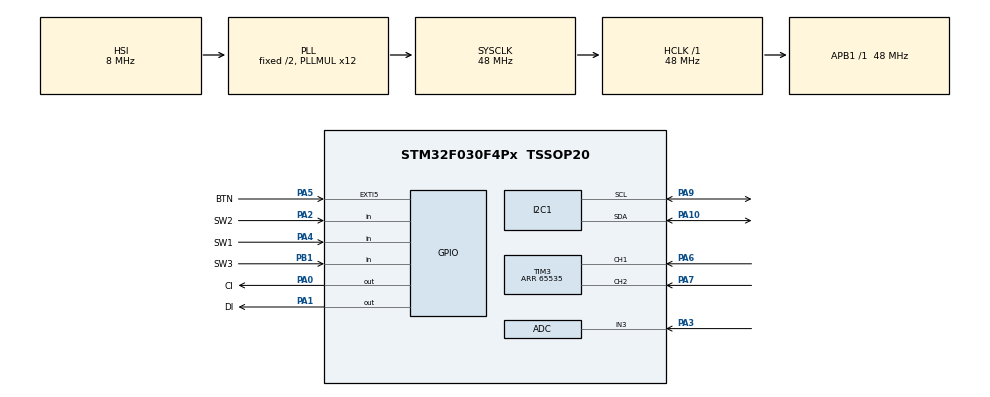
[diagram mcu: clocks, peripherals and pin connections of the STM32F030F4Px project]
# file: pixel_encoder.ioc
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ADC.ExternalTrigConv=ADC_EXTERNALTRIGCONV_T1_CC4
Dma.ADC.0.Direction=DMA_PERIPH_TO_MEMORY
Dma.ADC.0.Instance=DMA1_Channel1
Dma.ADC.0.MemDataAlignment=DMA_MDATAALIGN_HALFWORD
Dma.ADC.0.MemInc=DMA_MINC_ENABLE
Dma.ADC.0.Mode=DMA_CIRCULAR
Dma.ADC.0.PeriphDataAlignment=DMA_PDATAALIGN_HALFWORD
Dma.ADC.0.PeriphInc=DMA_PINC_DISABLE
Dma.ADC.0.Priority=DMA_PRIORITY_LOW
Dma.Request0=ADC
I2C1.OwnAddress=0x21
Mcu.Family=STM32F0
Mcu.Name=STM32F030F4Px
Mcu.Package=TSSOP20
NVIC.DMA1_Channel1_IRQn=true\:0\:0\:false\:false\:true\:false\:true\:true
NVIC.EXTI4_15_IRQn=true\:0\:0\:false\:false\:true\:true\:true\:true
NVIC.I2C1_IRQn=true\:0\:0\:false\:false\:true\:true\:true\:true
PA0.GPIO_Label=CI
PA0.Signal=GPIO_Output
PA1.GPIO_Label=DI
PA1.Signal=GPIO_Output
PA10.Mode=I2C
PA10.Signal=I2C1_SDA
PA13.Mode=Serial_Wire
PA13.Signal=SYS_SWDIO
PA14.Mode=Serial_Wire
PA14.Signal=SYS_SWCLK
PA2.GPIO_Label=SW2
PA2.GPIO_PuPd=GPIO_PULLDOWN
PA2.Signal=GPIO_Input
PA3.Mode=IN3
PA3.Signal=ADC_IN3
PA4.GPIO_Label=SW1
PA4.GPIO_PuPd=GPIO_PULLDOWN
PA4.Signal=GPIO_Input
PA5.GPIO_Label=BTN
PA5.GPIO_ModeDefaultEXTI=GPIO_MODE_IT_FALLING
PA5.GPIO_PuPd=GPIO_PULLUP
PA5.Signal=GPXTI5
PA6.GPIO_PuPd=GPIO_PULLUP
PA6.Signal=S_TIM3_CH1
PA7.GPIO_PuPd=GPIO_PULLUP
PA7.Signal=S_TIM3_CH2
PA9.Mode=I2C
PA9.Signal=I2C1_SCL
PB1.GPIO_Label=SW3
PB1.GPIO_PuPd=GPIO_PULLDOWN
PB1.Signal=GPIO_Input
ProjectManager.HeapSize=0x200
ProjectManager.StackSize=0x400
ProjectManager.TargetToolchain=STM32CubeIDE
RCC.AHBFreq_Value=48000000
RCC.APB1Freq_Value=48000000
RCC.APB1TimFreq_Value=48000000
RCC.HCLKFreq_Value=48000000
RCC.PLLMUL=RCC_PLL_MUL12
RCC.SYSCLKFreq_VALUE=48000000
RCC.SYSCLKSource=RCC_SYSCLKSOURCE_PLLCLK
SH.S_TIM3_CH1.0=TIM3_CH1,Encoder_Interface
SH.S_TIM3_CH2.0=TIM3_CH2,Encoder_Interface
TIM1.Channel-Output\ Compare4\ No\ Output=TIM_CHANNEL_4
TIM1.OCMode_4=TIM_OCMODE_TOGGLE
TIM1.Period=200-1
TIM1.Prescaler=4800-1
TIM3.AutoReloadPreload=TIM_AUTORELOAD_PRELOAD_ENABLE
TIM3.EncoderMode=TIM_ENCODERMODE_TI12
TIM3.IC1Filter=10
TIM3.IC2Filter=10
TIM3.Period=65535
VP_TIM1_VS_ClockSourceINT.Mode=Internal
VP_TIM1_VS_no_output4.Mode=Output Compare4 No Output
board=custom

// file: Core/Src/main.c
/* USER CODE BEGIN Header */
/**
  ******************************************************************************
  * @file           : main.c
  * @brief          : Main program body
  ******************************************************************************
  * @attention
  *
  * Copyright (c) 2023 STMicroelectronics.
  * All rights reserved.
  *
  * This software is licensed under terms that can be found in the LICENSE file
  * in the root directory of this software component.
  * If no LICENSE file comes with this software, it is provided AS-IS.
  *
  ******************************************************************************
  */
/* USER CODE END Header */
#include "main.h"

/* USER CODE BEGIN PD */
#define VERSION 2

#define LED_Q 16
#define LED_MAX LED_Q-1
#define LED_SHIFT 4

#define DEF_BRIGHTNESS 5
#define DEF_COLOR_R 255
#define DEF_COLOR_G 0
#define DEF_COLOR_B 0

#define SRC_ENC 0
#define SRC_POT 1

#define ENC_STOP_MAX 1
#define ENC_STOP_MIN 2
#define ENC_BTN_TO 200

#define MODE_FLOOD 0
#define MODE_LEVEL 1
#define MODE_POINT 2
#define MODE_TRAIL 3

#define CMD_GET_VERSION		0xB0 // версия прошивки
#define CMD_GET_SRC			0xB1 // получение источника сигнала 0 - энкодер, 1 - потенциометр
#define CMD_GET_STATE		0xB2 // получение состояния: байты 1 и 2 - позиция, байт 3 - состояние кнопки
#define CMD_SET_MODE		0xC0 // установка режима
#define CMD_SET_COLOR		0xC1 // установка цвета
#define CMD_SET_BRIGHTNESS	0xC2 // установка яркости
#define CMD_SET_POT_LPF		0xC3 // установка коэффициента ФНЧ для потенциометра 1..15
#define CMD_SET_ENC_LIMIT	0xC4 // установка предела энкодера
#define CMD_SET_ENC_MAX		0xC5 // установка диапазона энкодера
#define CMD_INIT			0xE0 // инициализация счётчика
#define CMD_RESET			0xE1 // сброс счётчика
#define CMD_TEST			0xE2 // запуск RGB теста

/* USER CODE END PD */

ADC_HandleTypeDef hadc;
DMA_HandleTypeDef hdma_adc;

I2C_HandleTypeDef hi2c1;

TIM_HandleTypeDef htim1;
TIM_HandleTypeDef htim3;

/* USER CODE BEGIN PV */
struct pixel_color{
	uint8_t red,green,blue;
};

struct pixel_color pixels[LED_Q];
struct pixel_color trail_pixels[3];

uint8_t current_brightness = DEF_BRIGHTNESS;
struct pixel_color current_color = {DEF_COLOR_R, DEF_COLOR_G, DEF_COLOR_B};
uint8_t current_mode = MODE_LEVEL;
uint8_t current_src = SRC_ENC;

// i2c
uint8_t i2c_recv_buf[8];
uint8_t i2c_send_buf[8];

// enc
uint16_t enc_pos = 0;
uint8_t enc_limit = 0;
uint8_t enc_max = 0;
uint8_t enc_stop = 0;
volatile uint32_t enc_btn_next = 0;

// pot
uint16_t pot_adc;
uint32_t pot_lpf = 0;
uint16_t pot_lpf_k = 1024;
volatile uint8_t flag_adc = 0;

//volatile uint8_t flag = 0;
volatile uint8_t transferDirection, transferRequested, i2c_data_ready;
/* USER CODE END PV */

void SystemClock_Config(void);
static void MX_GPIO_Init(void);
static void MX_DMA_Init(void);
static void MX_ADC_Init(void);
static void MX_TIM3_Init(void);
static void MX_I2C1_Init(void);
static void MX_TIM1_Init(void);
/* USER CODE BEGIN PFP */
uint8_t getHWIdx(uint8_t i);
void updateLeds();
void setPixelColor(uint8_t led, struct pixel_color color);
void setPixelColorRGB(uint8_t led, uint8_t r, uint8_t g, uint8_t b);
void testRGB();
void initPot( uint8_t init );
void handlePot();
void initEnc( uint8_t init );
void handleEnc();
void draw( uint8_t pos );
void packInt(uint8_t target[], volatile uint16_t source[], uint8_t ssize, uint8_t tstart);
void handleI2C();
/* USER CODE END PFP */

int main(void)
{

  /* MCU Configuration--------------------------------------------------------*/

  /* Reset of all peripherals, Initializes the Flash interface and the Systick. */
  HAL_Init();

  /* Configure the system clock */
  SystemClock_Config();

  /* Initialize all configured peripherals */
  MX_GPIO_Init();
  MX_DMA_Init();
  MX_ADC_Init();
  MX_TIM3_Init();
  MX_I2C1_Init();
  MX_TIM1_Init();
  /* USER CODE BEGIN 2 */

  HAL_I2C_EnableListen_IT(&hi2c1); // запуск прерываний I2C

  /* USER CODE END 2 */

  /* Infinite loop */
  /* USER CODE BEGIN WHILE */
  setPixelColor(LED_SHIFT, current_color);
  updateLeds();

  if( HAL_GPIO_ReadPin(SW1_GPIO_Port, SW1_Pin) ){
	  current_src = SRC_POT;
	  HAL_ADCEx_Calibration_Start(&hadc); // калибровка АЦП
	  HAL_ADC_Start_DMA(&hadc, (uint32_t*)&pot_adc, 1); // запуск DMA
	  HAL_TIM_OC_Start(&htim1, TIM_CHANNEL_4); // запуск таймера для опроса АЦП
	  initPot(1);
  } else {
	  current_src = SRC_ENC;
	  HAL_TIM_Encoder_Start_IT(&htim3, TIM_CHANNEL_ALL); // запуск энкодера
	  initEnc(1);
  }

  while (1)
  {
	  if( current_src == SRC_POT ){
		  handlePot();
	  } else
	  if( current_src == SRC_ENC ){
		  handleEnc();
	  }
	  handleI2C();
    /* USER CODE END WHILE */

  }
}

void SystemClock_Config(void)
{
  RCC_OscInitTypeDef RCC_OscInitStruct = {0};
  RCC_ClkInitTypeDef RCC_ClkInitStruct = {0};
  RCC_PeriphCLKInitTypeDef PeriphClkInit = {0};

  /** Initializes the RCC Oscillators according to the specified parameters
  * in the RCC_OscInitTypeDef structure.
  */
  RCC_OscInitStruct.OscillatorType = RCC_OSCILLATORTYPE_HSI|RCC_OSCILLATORTYPE_HSI14;
  RCC_OscInitStruct.HSIState = RCC_HSI_ON;
  RCC_OscInitStruct.HSI14State = RCC_HSI14_ON;
  RCC_OscInitStruct.HSICalibrationValue = RCC_HSICALIBRATION_DEFAULT;
  RCC_OscInitStruct.HSI14CalibrationValue = 16;
  RCC_OscInitStruct.PLL.PLLState = RCC_PLL_ON;
  RCC_OscInitStruct.PLL.PLLSource = RCC_PLLSOURCE_HSI;
  RCC_OscInitStruct.PLL.PLLMUL = RCC_PLL_MUL12;
  RCC_OscInitStruct.PLL.PREDIV = RCC_PREDIV_DIV1;
  if (HAL_RCC_OscConfig(&RCC_OscInitStruct) != HAL_OK)
  {
    Error_Handler();
  }

  /** Initializes the CPU, AHB and APB buses clocks
  */
  RCC_ClkInitStruct.ClockType = RCC_CLOCKTYPE_HCLK|RCC_CLOCKTYPE_SYSCLK
                              |RCC_CLOCKTYPE_PCLK1;
  RCC_ClkInitStruct.SYSCLKSource = RCC_SYSCLKSOURCE_PLLCLK;
  RCC_ClkInitStruct.AHBCLKDivider = RCC_SYSCLK_DIV1;
  RCC_ClkInitStruct.APB1CLKDivider = RCC_HCLK_DIV1;

  if (HAL_RCC_ClockConfig(&RCC_ClkInitStruct, FLASH_LATENCY_1) != HAL_OK)
  {
    Error_Handler();
  }
  PeriphClkInit.PeriphClockSelection = RCC_PERIPHCLK_I2C1;
  PeriphClkInit.I2c1ClockSelection = RCC_I2C1CLKSOURCE_HSI;
  if (HAL_RCCEx_PeriphCLKConfig(&PeriphClkInit) != HAL_OK)
  {
    Error_Handler();
  }
}

static void MX_ADC_Init(void)
{

  ADC_ChannelConfTypeDef sConfig = {0};

  /** Configure the global features of the ADC (Clock, Resolution, Data Alignment and number of conversion)
  */
  hadc.Instance = ADC1;
  hadc.Init.ClockPrescaler = ADC_CLOCK_ASYNC_DIV1;
  hadc.Init.Resolution = ADC_RESOLUTION_12B;
  hadc.Init.DataAlign = ADC_DATAALIGN_RIGHT;
  hadc.Init.ScanConvMode = ADC_SCAN_DIRECTION_FORWARD;
  hadc.Init.EOCSelection = ADC_EOC_SINGLE_CONV;
  hadc.Init.LowPowerAutoWait = DISABLE;
  hadc.Init.LowPowerAutoPowerOff = DISABLE;
  hadc.Init.ContinuousConvMode = DISABLE;
  hadc.Init.DiscontinuousConvMode = DISABLE;
  hadc.Init.ExternalTrigConv = ADC_EXTERNALTRIGCONV_T1_CC4;
  hadc.Init.ExternalTrigConvEdge = ADC_EXTERNALTRIGCONVEDGE_RISING;
  hadc.Init.DMAContinuousRequests = DISABLE;
  hadc.Init.Overrun = ADC_OVR_DATA_PRESERVED;
  if (HAL_ADC_Init(&hadc) != HAL_OK)
  {
    Error_Handler();
  }

  /** Configure for the selected ADC regular channel to be converted.
  */
  sConfig.Channel = ADC_CHANNEL_3;
  sConfig.Rank = ADC_RANK_CHANNEL_NUMBER;
  sConfig.SamplingTime = ADC_SAMPLETIME_1CYCLE_5;
  if (HAL_ADC_ConfigChannel(&hadc, &sConfig) != HAL_OK)
  {
    Error_Handler();
  }

}

static void MX_I2C1_Init(void)
{

  /* USER CODE BEGIN I2C1_Init 1 */
  uint8_t address = 0x30;
  if( HAL_GPIO_ReadPin(SW1_GPIO_Port, SW2_Pin) ){
	  address |= 0b00000001;
  }
  if( HAL_GPIO_ReadPin(SW1_GPIO_Port, SW3_Pin) ){
	  address |= 0b00000010;
  }

  /* USER CODE END I2C1_Init 1 */
  hi2c1.Instance = I2C1;
  hi2c1.Init.Timing = 0x2000090E;
  hi2c1.Init.OwnAddress1 = address<<1;//66;
  hi2c1.Init.AddressingMode = I2C_ADDRESSINGMODE_7BIT;
  hi2c1.Init.DualAddressMode = I2C_DUALADDRESS_DISABLE;
  hi2c1.Init.OwnAddress2 = 0;
  hi2c1.Init.OwnAddress2Masks = I2C_OA2_NOMASK;
  hi2c1.Init.GeneralCallMode = I2C_GENERALCALL_DISABLE;
  hi2c1.Init.NoStretchMode = I2C_NOSTRETCH_DISABLE;
  if (HAL_I2C_Init(&hi2c1) != HAL_OK)
  {
    Error_Handler();
  }

  /** Configure Analogue filter
  */
  if (HAL_I2CEx_ConfigAnalogFilter(&hi2c1, I2C_ANALOGFILTER_ENABLE) != HAL_OK)
  {
    Error_Handler();
  }

  /** Configure Digital filter
  */
  if (HAL_I2CEx_ConfigDigitalFilter(&hi2c1, 0) != HAL_OK)
  {
    Error_Handler();
  }

}

static void MX_TIM1_Init(void)
{

  TIM_ClockConfigTypeDef sClockSourceConfig = {0};
  TIM_MasterConfigTypeDef sMasterConfig = {0};
  TIM_OC_InitTypeDef sConfigOC = {0};
  TIM_BreakDeadTimeConfigTypeDef sBreakDeadTimeConfig = {0};

  htim1.Instance = TIM1;
  htim1.Init.Prescaler = 4800-1;
  htim1.Init.CounterMode = TIM_COUNTERMODE_UP;
  htim1.Init.Period = 200-1;
  htim1.Init.ClockDivision = TIM_CLOCKDIVISION_DIV1;
  htim1.Init.RepetitionCounter = 0;
  htim1.Init.AutoReloadPreload = TIM_AUTORELOAD_PRELOAD_DISABLE;
  if (HAL_TIM_Base_Init(&htim1) != HAL_OK)
  {
    Error_Handler();
  }
  sClockSourceConfig.ClockSource = TIM_CLOCKSOURCE_INTERNAL;
  if (HAL_TIM_ConfigClockSource(&htim1, &sClockSourceConfig) != HAL_OK)
  {
    Error_Handler();
  }
  if (HAL_TIM_OC_Init(&htim1) != HAL_OK)
  {
    Error_Handler();
  }
  sMasterConfig.MasterOutputTrigger = TIM_TRGO_RESET;
  sMasterConfig.MasterSlaveMode = TIM_MASTERSLAVEMODE_DISABLE;
  if (HAL_TIMEx_MasterConfigSynchronization(&htim1, &sMasterConfig) != HAL_OK)
  {
    Error_Handler();
  }
  sConfigOC.OCMode = TIM_OCMODE_TOGGLE;
  sConfigOC.Pulse = 0;
  sConfigOC.OCPolarity = TIM_OCPOLARITY_HIGH;
  sConfigOC.OCFastMode = TIM_OCFAST_DISABLE;
  sConfigOC.OCIdleState = TIM_OCIDLESTATE_RESET;
  sConfigOC.OCNIdleState = TIM_OCNIDLESTATE_RESET;
  if (HAL_TIM_OC_ConfigChannel(&htim1, &sConfigOC, TIM_CHANNEL_4) != HAL_OK)
  {
    Error_Handler();
  }
  sBreakDeadTimeConfig.OffStateRunMode = TIM_OSSR_DISABLE;
  sBreakDeadTimeConfig.OffStateIDLEMode = TIM_OSSI_DISABLE;
  sBreakDeadTimeConfig.LockLevel = TIM_LOCKLEVEL_OFF;
  sBreakDeadTimeConfig.DeadTime = 0;
  sBreakDeadTimeConfig.BreakState = TIM_BREAK_DISABLE;
  sBreakDeadTimeConfig.BreakPolarity = TIM_BREAKPOLARITY_HIGH;
  sBreakDeadTimeConfig.AutomaticOutput = TIM_AUTOMATICOUTPUT_DISABLE;
  if (HAL_TIMEx_ConfigBreakDeadTime(&htim1, &sBreakDeadTimeConfig) != HAL_OK)
  {
    Error_Handler();
  }

}

static void MX_TIM3_Init(void)
{

  TIM_Encoder_InitTypeDef sConfig = {0};
  TIM_MasterConfigTypeDef sMasterConfig = {0};

  htim3.Instance = TIM3;
  htim3.Init.Prescaler = 0;
  htim3.Init.CounterMode = TIM_COUNTERMODE_UP;
  htim3.Init.Period = 65535;
  htim3.Init.ClockDivision = TIM_CLOCKDIVISION_DIV1;
  htim3.Init.AutoReloadPreload = TIM_AUTORELOAD_PRELOAD_ENABLE;
  sConfig.EncoderMode = TIM_ENCODERMODE_TI12;
  sConfig.IC1Polarity = TIM_ICPOLARITY_RISING;
  sConfig.IC1Selection = TIM_ICSELECTION_DIRECTTI;
  sConfig.IC1Prescaler = TIM_ICPSC_DIV1;
  sConfig.IC1Filter = 10;
  sConfig.IC2Polarity = TIM_ICPOLARITY_RISING;
  sConfig.IC2Selection = TIM_ICSELECTION_DIRECTTI;
  sConfig.IC2Prescaler = TIM_ICPSC_DIV1;
  sConfig.IC2Filter = 10;
  if (HAL_TIM_Encoder_Init(&htim3, &sConfig) != HAL_OK)
  {
    Error_Handler();
  }
  sMasterConfig.MasterOutputTrigger = TIM_TRGO_RESET;
  sMasterConfig.MasterSlaveMode = TIM_MASTERSLAVEMODE_DISABLE;
  if (HAL_TIMEx_MasterConfigSynchronization(&htim3, &sMasterConfig) != HAL_OK)
  {
    Error_Handler();
  }

}

static void MX_DMA_Init(void)
{

  /* DMA controller clock enable */
  __HAL_RCC_DMA1_CLK_ENABLE();

  /* DMA interrupt init */
  /* DMA1_Channel1_IRQn interrupt configuration */
  HAL_NVIC_SetPriority(DMA1_Channel1_IRQn, 0, 0);
  HAL_NVIC_EnableIRQ(DMA1_Channel1_IRQn);

}

static void MX_GPIO_Init(void)
{
  GPIO_InitTypeDef GPIO_InitStruct = {0};

  /* GPIO Ports Clock Enable */
  __HAL_RCC_GPIOA_CLK_ENABLE();
  __HAL_RCC_GPIOB_CLK_ENABLE();

  /*Configure GPIO pin Output Level */
  HAL_GPIO_WritePin(GPIOA, CI_Pin|DI_Pin, GPIO_PIN_RESET);

  /*Configure GPIO pins : CI_Pin DI_Pin */
  GPIO_InitStruct.Pin = CI_Pin|DI_Pin;
  GPIO_InitStruct.Mode = GPIO_MODE_OUTPUT_PP;
  GPIO_InitStruct.Pull = GPIO_NOPULL;
  GPIO_InitStruct.Speed = GPIO_SPEED_FREQ_LOW;
  HAL_GPIO_Init(GPIOA, &GPIO_InitStruct);

  /*Configure GPIO pins : SW2_Pin SW1_Pin */
  GPIO_InitStruct.Pin = SW2_Pin|SW1_Pin;
  GPIO_InitStruct.Mode = GPIO_MODE_INPUT;
  GPIO_InitStruct.Pull = GPIO_PULLDOWN;
  HAL_GPIO_Init(GPIOA, &GPIO_InitStruct);

  /*Configure GPIO pin : BTN_Pin */
  GPIO_InitStruct.Pin = BTN_Pin;
  GPIO_InitStruct.Mode = GPIO_MODE_IT_FALLING;
  GPIO_InitStruct.Pull = GPIO_PULLUP;
  HAL_GPIO_Init(BTN_GPIO_Port, &GPIO_InitStruct);

  /*Configure GPIO pin : SW3_Pin */
  GPIO_InitStruct.Pin = SW3_Pin;
  GPIO_InitStruct.Mode = GPIO_MODE_INPUT;
  GPIO_InitStruct.Pull = GPIO_PULLDOWN;
  HAL_GPIO_Init(SW3_GPIO_Port, &GPIO_InitStruct);

  /* EXTI interrupt init*/
  HAL_NVIC_SetPriority(EXTI4_15_IRQn, 0, 0);
  HAL_NVIC_EnableIRQ(EXTI4_15_IRQn);

}

/* USER CODE BEGIN 4 */
void init(){
	HAL_GPIO_WritePin(CI_GPIO_Port, CI_Pin, RESET);
	HAL_GPIO_WritePin(DI_GPIO_Port, DI_Pin, RESET);
}

void transfer(uint8_t b){
	for (int8_t i = 7; i>=0; i--){
		HAL_GPIO_WritePin(DI_GPIO_Port, DI_Pin , (b >> i & 1));
		HAL_GPIO_WritePin(CI_GPIO_Port, CI_Pin, SET);
		HAL_GPIO_WritePin(CI_GPIO_Port, CI_Pin, RESET);
	}
}

// инициализация шины данных для светодиодов APA и отправка начального блока данных
//
void startFrame()
{
  init();
  transfer(0);
  transfer(0);
  transfer(0);
  transfer(0);
}

// Отправка конечного блока данных в шину APA
//
void endFrame(uint16_t count){
  // оптимизация
  // вместо отправки 4x 0xFF согласно спецификации
  // отправляем 0x0 в цикле

  for (uint16_t i = 0; i < (count + 14)/16; i++) transfer(0);
  init(); 	// сброс сигнальных линий
}

uint8_t getHWIdx(uint8_t i){
	uint8_t hwi;
	hwi = 16 - i; // инверсия циферблата
	hwi = hwi + LED_SHIFT; // сдвиг циферблата
	if(hwi > 15)
		hwi -= 16;
	return hwi;
}

// Отправка данных о цвете пикселей в шину APA
//
void updateLeds(){
  startFrame();
  uint8_t hwi;
  for(uint16_t i = 0; i < LED_Q; i++) {
	  hwi = getHWIdx(i);
	  transfer(0b11100000 | current_brightness); // яркость - 5 разрядное число от 0 до 31
	  transfer(pixels[hwi].blue);
	  transfer(pixels[hwi].green);
	  transfer(pixels[hwi].red);
  }
  endFrame(LED_Q);
}
void clearLeds(){
	for(uint16_t i = 0; i < LED_Q; i++) {
		pixels[i].red = 0;
		pixels[i].green = 0;
		pixels[i].blue = 0;
	}
	updateLeds();
}

void setPixelColorRGB(uint8_t led, uint8_t r, uint8_t g, uint8_t b){
	pixels[led].red	= r;
	pixels[led].green = g;
	pixels[led].blue = b;
}

void setPixelColor(uint8_t led, struct pixel_color color){
	pixels[led].red	= color.red;
	pixels[led].green = color.green;
	pixels[led].blue = color.blue;
}

void testRGB(){
	clearLeds();
	HAL_Delay(500);

	// закрашивание всех светодиодов последовательно в красный, зелёный и синий
	struct pixel_color rgb[3] = {
		{255,0,0},
		{0,255,0},
		{0,0,255}
	};
	for(uint8_t c = 0; c < 3; c++) {
		for(uint8_t i = 0; i < LED_Q; i++) {
			setPixelColor(i, rgb[c]);
		}
		updateLeds();
		HAL_Delay(500);
	}
	clearLeds();

	if( current_src == SRC_ENC ){
		draw(0);
	}
}

void initPot( uint8_t init ){
	if( init ){
		current_brightness = DEF_BRIGHTNESS;
		current_color.red = DEF_COLOR_R;
		current_color.green = DEF_COLOR_G;
		current_color.blue = DEF_COLOR_B;
		current_mode = MODE_LEVEL;
	}
}

void handlePot(){
	if( flag_adc ){
		flag_adc = 0;
		HAL_ADC_Stop_DMA(&hadc);
		uint32_t fp_pot = (4095-pot_adc)<<10;
		HAL_ADC_Start_DMA(&hadc, (uint32_t*)&pot_adc, 1);

		pot_lpf = pot_lpf - ((pot_lpf*pot_lpf_k)>>10) + ((fp_pot*pot_lpf_k)>>10);
		draw( pot_lpf>>18 ); //10+8
	}
}

void initEnc( uint8_t init ){
	if( init ){
		enc_limit = 0;
		enc_max = 0;
		enc_stop = 0;
		current_brightness = DEF_BRIGHTNESS;
		current_color.red = DEF_COLOR_R;
		current_color.green = DEF_COLOR_G;
		current_color.blue = DEF_COLOR_B;
		current_mode = MODE_LEVEL;
	}
	enc_pos = 0;
	__HAL_TIM_SET_COUNTER(&htim3, 0);
	draw(0);
}

void handleEnc(){

	// вышло время лага кнопки
	if( enc_btn_next && HAL_GetTick() > enc_btn_next ){
		enc_btn_next = 0;
	}

	uint16_t enc_pos_new = __HAL_TIM_GET_COUNTER(&htim3);

	// если значения не изменились
	if( enc_pos_new == enc_pos ){
		return;
	}

	// игнорировать значения некратные 4
	if( enc_pos_new & 0b00000011 ){
		return;
	}

	uint8_t reverse = __HAL_TIM_IS_TIM_COUNTING_DOWN(&htim3);
	uint16_t enc_max_v = ((LED_Q)<<(2+enc_max))-4;

	if( enc_limit && enc_stop == ENC_STOP_MIN ){
		if( reverse ){
			return;
		} else {
			enc_stop = 0;
			enc_pos = 0;
			__HAL_TIM_SET_COUNTER(&htim3, enc_pos);
			draw( 0 );
			return;
		}
	}

	if( enc_limit && enc_stop == ENC_STOP_MAX ){
		if( reverse ){
			enc_stop = 0;
			enc_pos = enc_max_v;
			__HAL_TIM_SET_COUNTER(&htim3, enc_pos);
			draw( enc_pos>>(2+enc_max) );
			return;
		} else {
			return;
		}
	}

	if( enc_pos_new > enc_max_v ){
		if( enc_limit && !enc_stop ){
			if( reverse ){
				enc_pos = 0;
				enc_stop = ENC_STOP_MIN;
			} else {
				enc_pos = enc_max_v;
				enc_stop = ENC_STOP_MAX;
			}
		} else {
			if( reverse ){
				enc_pos = enc_max_v;
				__HAL_TIM_SET_COUNTER(&htim3, enc_max_v);
			} else {
				enc_pos = 0;
				__HAL_TIM_SET_COUNTER(&htim3, enc_pos);
			}
		}
	} else {
		enc_pos = enc_pos_new;
	}

	//draw( (((enc_pos<<10)/enc_max)*LED_MAX)>>10 );
	draw( enc_pos>>(2+enc_max));
}

void draw( uint8_t pos ){
	if( current_mode == MODE_FLOOD ){
		for(uint8_t i = 0; i < LED_Q; i++) {
			if( i <= pos )
				setPixelColor(i, current_color);
			else
				setPixelColorRGB(i, 0,0,0);
		}
		updateLeds();
	}
	else if( current_mode == MODE_LEVEL ){
		for(uint8_t i = 0; i < LED_Q; i++) {
			if( i <= pos ){
				setPixelColorRGB(i, pos*17, 255-pos*17, 0);
			} else {
				setPixelColorRGB(i, 0,0,0);
			}
		}
		updateLeds();
	}
	else if( current_mode == MODE_POINT ){
		for(uint8_t i = 0; i < LED_Q; i++) {
			if( i == pos ){
				setPixelColor(i, current_color);
			} else {
				setPixelColorRGB(i, 0,0,0);
			}
		}
		updateLeds();
	}
}

void handleI2C(){
	if(i2c_data_ready){
		i2c_data_ready = 0;

		switch(i2c_recv_buf[0]) {
			case CMD_GET_VERSION:
				i2c_send_buf[0] = VERSION;
				break;
			case CMD_GET_SRC:
    			i2c_send_buf[0] = current_src;
				break;
    		case CMD_GET_STATE:
    			if( current_src == SRC_POT ){
        			i2c_send_buf[0] = (pot_lpf>>10) & 0xFF;
        			i2c_send_buf[1] = (pot_lpf>>18) & 0xFF;
    			} else
    			if( current_src == SRC_ENC ){
    				uint16_t enc_pos4 = enc_pos>>2;
        			i2c_send_buf[0] = enc_pos4 & 0xFF;
        			i2c_send_buf[1] = (enc_pos4>>8) & 0xFF;
        			i2c_send_buf[2] = !!enc_btn_next;
    			}
    			break;
    		case CMD_SET_MODE:;
    			uint8_t mode = i2c_recv_buf[1];
    			if( mode == MODE_FLOOD || mode == MODE_LEVEL || mode == MODE_POINT ){
    				current_mode = mode;
    			}
    			break;
    		case CMD_SET_COLOR:
    			current_color.red = i2c_recv_buf[1];
    			current_color.green = i2c_recv_buf[2];
    			current_color.blue = i2c_recv_buf[3];
    			draw( enc_pos>>(2+enc_max)); // перерисовка текущего значения
    			break;
    		case CMD_SET_BRIGHTNESS:
    			current_brightness = i2c_recv_buf[1];
    			draw( enc_pos>>(2+enc_max)); // перерисовка текущего значения
    			break;
    		case CMD_SET_POT_LPF:
    			pot_lpf_k = i2c_recv_buf[1]<<6;
    			break;
    		case CMD_SET_ENC_LIMIT:
    			enc_limit = i2c_recv_buf[1];
				initEnc(0);
    			break;
    		case CMD_SET_ENC_MAX:
    			enc_max = i2c_recv_buf[1];
				initEnc(0);
    			break;
    		case CMD_TEST:
    			testRGB();
    			break;
    		case CMD_INIT:
    			if( current_src == SRC_POT ){
    				initPot(1);
    			} else
    			if( current_src == SRC_ENC ){
    				initEnc(1);
				}
    			break;
    		case CMD_RESET:
    			if( current_src == SRC_POT ){
    				initPot(0);
    			} else
    			if( current_src == SRC_ENC ){
    				initEnc(0);
				}
    			break;
    		default:
    			i2c_send_buf[0] = 0xFF;
		}
	}

}

void HAL_I2C_AddrCallback(I2C_HandleTypeDef *hi2c, uint8_t TransferDirection, uint16_t AddrMatchCode) {
	UNUSED(AddrMatchCode);

	if(hi2c->Instance == I2C1) {
		transferRequested = 1;
		transferDirection = TransferDirection;

		if(transferDirection == TRANSFER_DIR_WRITE) {
			HAL_I2C_Slave_Seq_Transmit_IT(&hi2c1, i2c_send_buf, 4, I2C_LAST_FRAME);
		} else {
			HAL_I2C_Slave_Seq_Receive_IT(&hi2c1, i2c_recv_buf, 4, I2C_FIRST_FRAME);
		}
	}
}
void HAL_I2C_SlaveTxCpltCallback(I2C_HandleTypeDef *hi2c){
	transferRequested = 0;
}
void HAL_I2C_SlaveRxCpltCallback(I2C_HandleTypeDef *hi2c){
	transferRequested = 0;
	i2c_data_ready = 1;
}
void HAL_I2C_ListenCpltCallback(I2C_HandleTypeDef *hi2c){
	HAL_I2C_EnableListen_IT(hi2c);
}

void HAL_ADC_ConvCpltCallback(ADC_HandleTypeDef* hadc){
    if(hadc->Instance == ADC1){
        flag_adc = 1;
    }
}
void HAL_GPIO_EXTI_Callback(uint16_t GPIO_Pin){
	if(GPIO_Pin==BTN_Pin) {
		enc_btn_next = HAL_GetTick() + ENC_BTN_TO;
	} else{
		__NOP();
	}
}
/* USER CODE END 4 */

void Error_Handler(void)
{
  __disable_irq();
  while (1)
  {
  }
}
